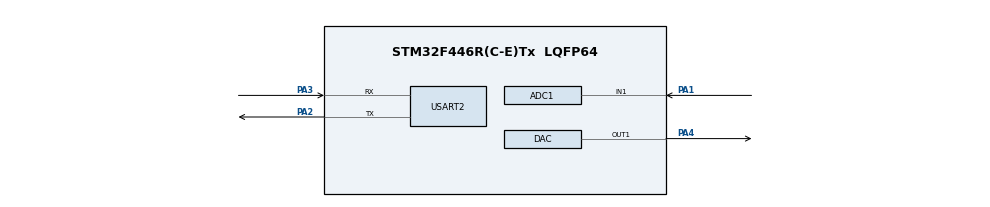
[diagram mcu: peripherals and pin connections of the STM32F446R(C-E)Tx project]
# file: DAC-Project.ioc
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ADC1.Channel-1\#ChannelRegularConversion=ADC_CHANNEL_1
ADC1.NbrOfConversionFlag=1
ADC1.Rank-1\#ChannelRegularConversion=1
ADC1.SamplingTime-1\#ChannelRegularConversion=ADC_SAMPLETIME_3CYCLES
ADC1.master=1
DAC.DAC_Trigger=DAC_TRIGGER_T6_TRGO
Dma.DAC1.0.Direction=DMA_MEMORY_TO_PERIPH
Dma.DAC1.0.FIFOMode=DMA_FIFOMODE_DISABLE
Dma.DAC1.0.Instance=DMA1_Stream5
Dma.DAC1.0.MemDataAlignment=DMA_MDATAALIGN_HALFWORD
Dma.DAC1.0.MemInc=DMA_MINC_ENABLE
Dma.DAC1.0.Mode=DMA_CIRCULAR
Dma.DAC1.0.PeriphDataAlignment=DMA_PDATAALIGN_HALFWORD
Dma.DAC1.0.PeriphInc=DMA_PINC_DISABLE
Dma.DAC1.0.Priority=DMA_PRIORITY_LOW
Dma.Request0=DAC1
Mcu.Family=STM32F4
Mcu.Name=STM32F446R(C-E)Tx
Mcu.Package=LQFP64
NVIC.DMA1_Stream5_IRQn=true\:0\:0\:false\:false\:true\:false\:true\:true
NVIC.PriorityGroup=NVIC_PRIORITYGROUP_4
NVIC.USART2_IRQn=true\:0\:0\:false\:false\:true\:true\:true\:true
PA1.Signal=ADCx_IN1
PA2.Mode=Asynchronous
PA2.Signal=USART2_TX
PA3.Mode=Asynchronous
PA3.Signal=USART2_RX
PA4.Signal=COMP_DAC1_group
ProjectManager.HeapSize=0x200
ProjectManager.StackSize=0x400
ProjectManager.TargetToolchain=STM32CubeIDE
RCC.CortexFreq_Value=16000000
RCC.USBFreq_Value=96000000
RCC.VCOOutputFreq_Value=192000000
SH.ADCx_IN1.0=ADC1_IN1,IN1
SH.COMP_DAC1_group.0=DAC_OUT1,DAC_OUT1
TIM6.Period=159
TIM6.Prescaler=999
TIM6.TIM_MasterOutputTrigger=TIM_TRGO_UPDATE
USART2.VirtualMode=VM_ASYNC
VP_TIM6_VS_ClockSourceINT.Mode=Enable_Timer
board=custom

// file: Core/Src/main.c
/* USER CODE BEGIN Header */
/**
  ******************************************************************************
  * @file           : main.c
  * @brief          : Main program body
  ******************************************************************************
  * @attention
  *
  * Copyright (c) 2026 STMicroelectronics.
  * All rights reserved.
  *
  * This software is licensed under terms that can be found in the LICENSE file
  * in the root directory of this software component.
  * If no LICENSE file comes with this software, it is provided AS-IS.
  *
  ******************************************************************************
  */
/* USER CODE END Header */
#include "main.h"

/* USER CODE BEGIN Includes */
#include "stdio.h"
#include "stdlib.h"
#include "string.h"
#include "math.h"
/* USER CODE END Includes */

ADC_HandleTypeDef hadc1;

DAC_HandleTypeDef hdac;
DMA_HandleTypeDef hdma_dac1;

TIM_HandleTypeDef htim6;

UART_HandleTypeDef huart2;

/* USER CODE BEGIN PV */
#define LUT_SIZE 100
uint16_t sine_lut[LUT_SIZE];
char msg[32];
uint32_t adc_val;
/* USER CODE END PV */

void SystemClock_Config(void);
static void MX_GPIO_Init(void);
static void MX_DMA_Init(void);
static void MX_DAC_Init(void);
static void MX_ADC1_Init(void);
static void MX_USART2_UART_Init(void);
static void MX_TIM6_Init(void);

int main(void)
{

  /* MCU Configuration--------------------------------------------------------*/

  /* Reset of all peripherals, Initializes the Flash interface and the Systick. */
  HAL_Init();

  /* Configure the system clock */
  SystemClock_Config();

  /* Initialize all configured peripherals */
  MX_GPIO_Init();
  MX_DMA_Init();
  MX_DAC_Init();
  MX_ADC1_Init();
  MX_USART2_UART_Init();
  MX_TIM6_Init();
  /* USER CODE BEGIN 2 */
  for (int i = 0; i < LUT_SIZE; i++) {
      sine_lut[i] = (uint16_t)((sinf(2.0f * 3.14159265f * i / LUT_SIZE) + 1.0f) * 2047.5f);
  }

  HAL_DAC_Start_DMA(&hdac, DAC_CHANNEL_1, (uint32_t*)sine_lut, LUT_SIZE, DAC_ALIGN_12B_R);
  HAL_TIM_Base_Start(&htim6);
  /* USER CODE END 2 */

  /* Infinite loop */
  while (1)
  {

    /* USER CODE BEGIN 3 */
	  HAL_ADC_Start(&hadc1);
	  HAL_ADC_PollForConversion(&hadc1, 10);
	  adc_val = HAL_ADC_GetValue(&hadc1);

	  int len = sprintf(msg, "%lu\r\n", adc_val);
	  HAL_UART_Transmit(&huart2, (uint8_t*)msg, len, 100);

	  HAL_Delay(50);
  }
  /* USER CODE END 3 */
}

void SystemClock_Config(void)
{
  RCC_OscInitTypeDef RCC_OscInitStruct = {0};
  RCC_ClkInitTypeDef RCC_ClkInitStruct = {0};

  /** Configure the main internal regulator output voltage
  */
  __HAL_RCC_PWR_CLK_ENABLE();
  __HAL_PWR_VOLTAGESCALING_CONFIG(PWR_REGULATOR_VOLTAGE_SCALE3);

  /** Initializes the RCC Oscillators according to the specified parameters
  * in the RCC_OscInitTypeDef structure.
  */
  RCC_OscInitStruct.OscillatorType = RCC_OSCILLATORTYPE_HSI;
  RCC_OscInitStruct.HSIState = RCC_HSI_ON;
  RCC_OscInitStruct.HSICalibrationValue = RCC_HSICALIBRATION_DEFAULT;
  RCC_OscInitStruct.PLL.PLLState = RCC_PLL_NONE;
  if (HAL_RCC_OscConfig(&RCC_OscInitStruct) != HAL_OK)
  {
    Error_Handler();
  }

  /** Initializes the CPU, AHB and APB buses clocks
  */
  RCC_ClkInitStruct.ClockType = RCC_CLOCKTYPE_HCLK|RCC_CLOCKTYPE_SYSCLK
                              |RCC_CLOCKTYPE_PCLK1|RCC_CLOCKTYPE_PCLK2;
  RCC_ClkInitStruct.SYSCLKSource = RCC_SYSCLKSOURCE_HSI;
  RCC_ClkInitStruct.AHBCLKDivider = RCC_SYSCLK_DIV1;
  RCC_ClkInitStruct.APB1CLKDivider = RCC_HCLK_DIV1;
  RCC_ClkInitStruct.APB2CLKDivider = RCC_HCLK_DIV1;

  if (HAL_RCC_ClockConfig(&RCC_ClkInitStruct, FLASH_LATENCY_0) != HAL_OK)
  {
    Error_Handler();
  }
}

static void MX_ADC1_Init(void)
{

  ADC_ChannelConfTypeDef sConfig = {0};

  /** Configure the global features of the ADC (Clock, Resolution, Data Alignment and number of conversion)
  */
  hadc1.Instance = ADC1;
  hadc1.Init.ClockPrescaler = ADC_CLOCK_SYNC_PCLK_DIV2;
  hadc1.Init.Resolution = ADC_RESOLUTION_12B;
  hadc1.Init.ScanConvMode = DISABLE;
  hadc1.Init.ContinuousConvMode = DISABLE;
  hadc1.Init.DiscontinuousConvMode = DISABLE;
  hadc1.Init.ExternalTrigConvEdge = ADC_EXTERNALTRIGCONVEDGE_NONE;
  hadc1.Init.ExternalTrigConv = ADC_SOFTWARE_START;
  hadc1.Init.DataAlign = ADC_DATAALIGN_RIGHT;
  hadc1.Init.NbrOfConversion = 1;
  hadc1.Init.DMAContinuousRequests = DISABLE;
  hadc1.Init.EOCSelection = ADC_EOC_SINGLE_CONV;
  if (HAL_ADC_Init(&hadc1) != HAL_OK)
  {
    Error_Handler();
  }

  /** Configure for the selected ADC regular channel its corresponding rank in the sequencer and its sample time.
  */
  sConfig.Channel = ADC_CHANNEL_1;
  sConfig.Rank = 1;
  sConfig.SamplingTime = ADC_SAMPLETIME_3CYCLES;
  if (HAL_ADC_ConfigChannel(&hadc1, &sConfig) != HAL_OK)
  {
    Error_Handler();
  }

}

static void MX_DAC_Init(void)
{

  DAC_ChannelConfTypeDef sConfig = {0};

  /** DAC Initialization
  */
  hdac.Instance = DAC;
  if (HAL_DAC_Init(&hdac) != HAL_OK)
  {
    Error_Handler();
  }

  /** DAC channel OUT1 config
  */
  sConfig.DAC_Trigger = DAC_TRIGGER_T6_TRGO;
  sConfig.DAC_OutputBuffer = DAC_OUTPUTBUFFER_ENABLE;
  if (HAL_DAC_ConfigChannel(&hdac, &sConfig, DAC_CHANNEL_1) != HAL_OK)
  {
    Error_Handler();
  }

}

static void MX_TIM6_Init(void)
{

  TIM_MasterConfigTypeDef sMasterConfig = {0};

  htim6.Instance = TIM6;
  htim6.Init.Prescaler = 999;
  htim6.Init.CounterMode = TIM_COUNTERMODE_UP;
  htim6.Init.Period = 159;
  htim6.Init.AutoReloadPreload = TIM_AUTORELOAD_PRELOAD_DISABLE;
  if (HAL_TIM_Base_Init(&htim6) != HAL_OK)
  {
    Error_Handler();
  }
  sMasterConfig.MasterOutputTrigger = TIM_TRGO_UPDATE;
  sMasterConfig.MasterSlaveMode = TIM_MASTERSLAVEMODE_DISABLE;
  if (HAL_TIMEx_MasterConfigSynchronization(&htim6, &sMasterConfig) != HAL_OK)
  {
    Error_Handler();
  }

}

static void MX_USART2_UART_Init(void)
{

  huart2.Instance = USART2;
  huart2.Init.BaudRate = 115200;
  huart2.Init.WordLength = UART_WORDLENGTH_8B;
  huart2.Init.StopBits = UART_STOPBITS_1;
  huart2.Init.Parity = UART_PARITY_NONE;
  huart2.Init.Mode = UART_MODE_TX_RX;
  huart2.Init.HwFlowCtl = UART_HWCONTROL_NONE;
  huart2.Init.OverSampling = UART_OVERSAMPLING_16;
  if (HAL_UART_Init(&huart2) != HAL_OK)
  {
    Error_Handler();
  }

}

static void MX_DMA_Init(void)
{

  /* DMA controller clock enable */
  __HAL_RCC_DMA1_CLK_ENABLE();

  /* DMA interrupt init */
  /* DMA1_Stream5_IRQn interrupt configuration */
  HAL_NVIC_SetPriority(DMA1_Stream5_IRQn, 0, 0);
  HAL_NVIC_EnableIRQ(DMA1_Stream5_IRQn);

}

static void MX_GPIO_Init(void)
{

  /* GPIO Ports Clock Enable */
  __HAL_RCC_GPIOA_CLK_ENABLE();

}

void Error_Handler(void)
{
  __disable_irq();
  while (1)
  {
  }
}
